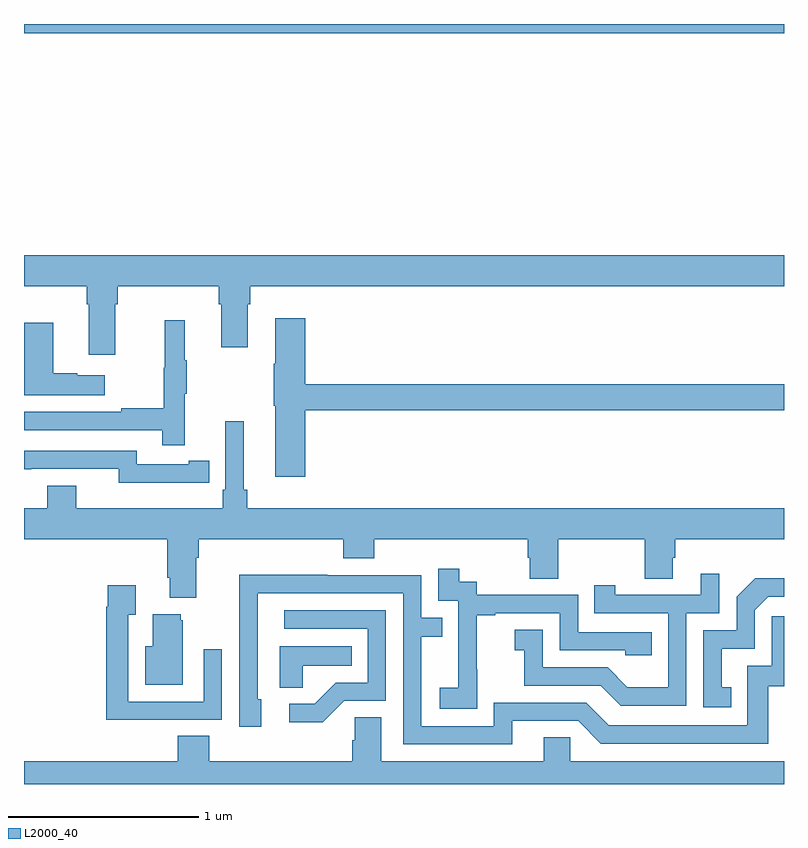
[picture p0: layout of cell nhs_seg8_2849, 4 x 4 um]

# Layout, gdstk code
import gdstk
lib = gdstk.Library(unit=1e-6, precision=1e-09)
def R(c, l, rs):  # rectangles x0, y0, x1, y1
    for r in rs: c.add(gdstk.rectangle(r[:2], r[2:], *l))
def P(c, l, *ps):  # polygons
    for p in ps: c.add(gdstk.Polygon(p, *l))
L2000_40 = (2000, 40)

nhs_seg8_2849 = lib.new_cell('nhs_seg8_2849')
R(nhs_seg8_2849, L2000_40, [(291,1097.852,295,1097.9)])
P(nhs_seg8_2849, L2000_40, [(291.481,1096.424),(291.494,1096.424),(291.494,1096.52),(292.025,1096.52),(292.025,1096.424),(292.037,1096.424),(292.037,1096.2),(292.177,1096.2),(292.177,1096.424),(292.19,1096.424),(292.19,1096.52),(295,1096.52),(295,1096.684),(291,1096.684),(291,1096.52),(291.329,1096.52),(291.329,1096.424),(291.341,1096.424),(291.341,1096.158),(291.481,1096.158)],
  [(292.481,1095.868),(295,1095.868),(295,1096.004),(292.481,1096.004),(292.481,1096.351),(292.322,1096.351),(292.322,1096.112),(292.315,1096.112),(292.315,1095.891),(292.322,1095.891),(292.322,1095.516),(292.481,1095.516)],
  [(291.845,1095.955),(291.856,1095.955),(291.856,1096.129),(291.845,1096.129),(291.845,1096.342),(291.742,1096.342),(291.742,1096.092),(291.735,1096.092),(291.735,1095.878),(291.511,1095.878),(291.511,1095.858),(291,1095.858),(291,1095.762),(291.727,1095.762),(291.727,1095.684),(291.845,1095.684)],
  [(291.424,1096.051),(291.281,1096.051),(291.281,1096.061),(291.154,1096.061),(291.154,1096.327),(291,1096.327),(291,1095.947),(291.424,1095.947)],
  [(291.907,1095.092),(291.92,1095.092),(291.92,1095.188),(292.679,1095.188),(292.679,1095.089),(292.844,1095.089),(292.844,1095.188),(293.651,1095.188),(293.651,1095.09),(293.663,1095.09),(293.663,1094.98),(293.811,1094.98),(293.811,1095.188),(294.268,1095.188),(294.268,1094.98),(294.415,1094.98),(294.415,1095.09),(294.428,1095.09),(294.428,1095.188),(295,1095.188),(295,1095.352),(292.175,1095.352),(292.175,1095.448),(292.156,1095.448),(292.156,1095.808),(292.059,1095.808),(292.059,1095.448),(292.046,1095.448),(292.046,1095.352),(291.274,1095.352),(291.274,1095.469),(291.122,1095.469),(291.122,1095.352),(291,1095.352),(291,1095.188),(291.755,1095.188),(291.755,1094.986),(291.767,1094.986),(291.767,1094.879),(291.907,1094.879)],
  [(291.866,1095.486),(291.974,1095.486),(291.974,1095.602),(291.866,1095.602),(291.866,1095.582),(291.594,1095.582),(291.594,1095.654),(291,1095.654),(291,1095.557),(291.038,1095.557),(291.038,1095.558),(291.498,1095.558),(291.498,1095.485),(291.866,1095.485)],
  [(293.385,1094.503),(293.384,1094.503),(293.384,1094.787),(293.479,1094.787),(293.479,1094.799),(293.82,1094.799),(293.82,1094.604),(294.165,1094.604),(294.165,1094.577),(294.305,1094.577),(294.305,1094.7),(293.916,1094.7),(293.916,1094.895),(293.382,1094.895),(293.382,1094.964),(293.29,1094.964),(293.29,1095.034),(293.181,1095.034),(293.181,1094.865),(293.286,1094.865),(293.286,1094.636),(293.285,1094.636),(293.285,1094.407),(293.187,1094.407),(293.187,1094.297),(293.385,1094.297)],
  [(294.486,1094.799),(294.66,1094.799),(294.66,1095.007),(294.563,1095.007),(294.563,1094.895),(294.112,1094.895),(294.112,1094.947),(294.001,1094.947),(294.001,1094.799),(294.39,1094.799),(294.39,1094.41),(294.176,1094.41),(294.072,1094.514),(293.73,1094.514),(293.73,1094.713),(293.583,1094.713),(293.583,1094.603),(293.632,1094.603),(293.632,1094.418),(294.035,1094.418),(294.14,1094.313),(294.486,1094.313)],
  [(293.569,1094.232),(293.916,1094.232),(294.036,1094.112),(294.916,1094.112),(294.916,1094.415),(295,1094.415),(295,1094.782),(294.936,1094.782),(294.936,1094.523),(294.807,1094.523),(294.807,1094.208),(294.078,1094.208),(293.958,1094.328),(293.472,1094.328),(293.472,1094.205),(293.091,1094.205),(293.091,1094.674),(293.201,1094.674),(293.201,1094.775),(293.091,1094.775),(293.091,1095),(292.595,1095),(292.595,1095.002),(292.132,1095.002),(292.132,1094.695),(292.134,1094.695),(292.134,1094.202),(292.249,1094.202),(292.249,1094.346),(292.23,1094.346),(292.23,1094.904),(292.995,1094.904),(292.995,1094.109),(293.569,1094.109)],
  [(294.722,1094.409),(294.673,1094.409),(294.673,1094.613),(294.846,1094.613),(294.846,1094.814),(294.918,1094.886),(295,1094.886),(295,1094.984),(294.848,1094.984),(294.75,1094.886),(294.75,1094.709),(294.576,1094.709),(294.576,1094.304),(294.722,1094.304)],
  [(291.725,1094.238),(292.041,1094.238),(292.041,1094.608),(291.945,1094.608),(291.945,1094.334),(291.549,1094.334),(291.549,1094.791),(291.589,1094.791),(291.589,1094.947),(291.441,1094.947),(291.441,1094.834),(291.433,1094.834),(291.433,1094.237),(291.725,1094.237)],
  [(292.686,1094.337),(292.905,1094.337),(292.905,1094.814),(292.371,1094.814),(292.371,1094.718),(292.809,1094.718),(292.809,1094.433),(292.64,1094.433),(292.529,1094.322),(292.395,1094.322),(292.395,1094.225),(292.573,1094.225)],
  [(291.835,1094.763),(291.824,1094.763),(291.824,1094.794),(291.677,1094.794),(291.677,1094.626),(291.638,1094.626),(291.638,1094.423),(291.835,1094.423)],
  [(292.467,1094.522),(292.724,1094.522),(292.724,1094.626),(292.346,1094.626),(292.346,1094.407),(292.467,1094.407)],
  [(295,1094.02),(293.874,1094.02),(293.874,1094.147),(293.735,1094.147),(293.735,1094.02),(292.879,1094.02),(292.879,1094.252),(292.74,1094.252),(292.74,1094.129),(292.727,1094.129),(292.727,1094.02),(291.974,1094.02),(291.974,1094.153),(291.809,1094.153),(291.809,1094.02),(291,1094.02),(291,1093.9),(295,1093.9)])

lib.write_gds('nhs_seg8_2849.gds')
